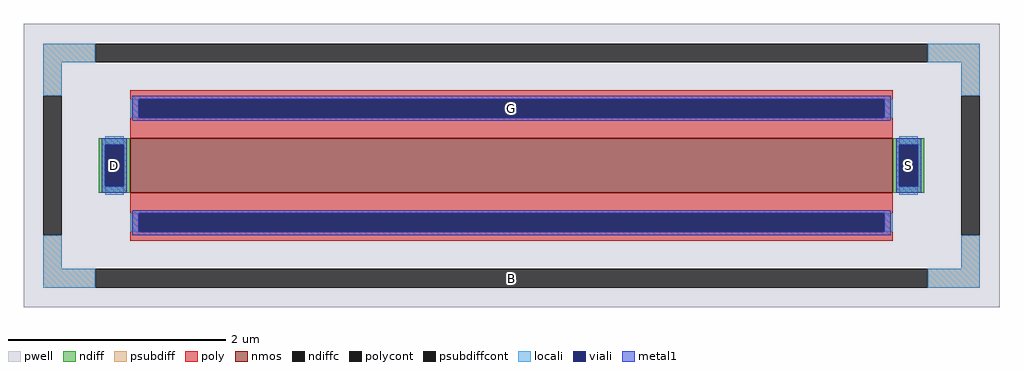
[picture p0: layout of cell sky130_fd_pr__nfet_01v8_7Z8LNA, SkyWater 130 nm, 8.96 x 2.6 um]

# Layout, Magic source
magic
tech sky130A
magscale 1 2
<< pwell >>
rect -896 -260 896 260
<< nmos >>
rect -700 -50 700 50
<< ndiff >>
rect -758 38 -700 50
rect -758 -38 -746 38
rect -712 -38 -700 38
rect -758 -50 -700 -38
rect 700 38 758 50
rect 700 -38 712 38
rect 746 -38 758 38
rect 700 -50 758 -38
<< ndiffc >>
rect -746 -38 -712 38
rect 712 -38 746 38
<< psubdiff >>
rect -860 190 -764 224
rect 764 190 860 224
rect -860 128 -826 190
rect 826 128 860 190
rect -860 -190 -826 -128
rect 826 -190 860 -128
rect -860 -224 -764 -190
rect 764 -224 860 -190
<< psubdiffcont >>
rect -764 190 764 224
rect -860 -128 -826 128
rect 826 -128 860 128
rect -764 -224 764 -190
<< poly >>
rect -700 122 700 138
rect -700 88 -684 122
rect 684 88 700 122
rect -700 50 700 88
rect -700 -88 700 -50
rect -700 -122 -684 -88
rect 684 -122 700 -88
rect -700 -138 700 -122
<< polycont >>
rect -684 88 684 122
rect -684 -122 684 -88
<< locali >>
rect -860 190 -764 224
rect 764 190 860 224
rect -860 128 -826 190
rect 826 128 860 190
rect -700 88 -684 122
rect 684 88 700 122
rect -746 38 -712 54
rect -746 -54 -712 -38
rect 712 38 746 54
rect 712 -54 746 -38
rect -700 -122 -684 -88
rect 684 -122 700 -88
rect -860 -190 -826 -128
rect 826 -190 860 -128
rect -860 -224 -764 -190
rect 764 -224 860 -190
<< viali >>
rect -684 88 684 122
rect -746 -38 -712 38
rect 712 -38 746 38
rect -684 -122 684 -88
<< metal1 >>
rect -696 122 696 128
rect -696 88 -684 122
rect 684 88 696 122
rect -696 82 696 88
rect -752 38 -706 50
rect -752 -38 -746 38
rect -712 -38 -706 38
rect -752 -50 -706 -38
rect 706 38 752 50
rect 706 -38 712 38
rect 746 -38 752 38
rect 706 -50 752 -38
rect -696 -88 696 -82
rect -696 -122 -684 -88
rect 684 -122 696 -88
rect -696 -128 696 -122
<< labels >>
rlabel psubdiffcont 0 -207 0 -207 0 B
port 5 nsew
rlabel ndiffc -729 0 -729 0 0 D
port 6 nsew
rlabel ndiffc 729 0 729 0 0 S
port 7 nsew
rlabel polycont 0 105 0 105 0 G
port 8 nsew
<< properties >>
string FIXED_BBOX -843 -207 843 207
string gencell sky130_fd_pr__nfet_01v8
string library sky130
string parameters w 0.5 l 7.0 m 1 nf 1 diffcov 100 polycov 100 guard 1 glc 1 grc 1 gtc 1 gbc 1 tbcov 100 rlcov 100 topc 1 botc 1 poverlap 0 doverlap 1 lmin 0.15 wmin 0.42 class mosfet compatible {sky130_fd_pr__nfet_01v8 sky130_fd_pr__nfet_01v8_lvt  sky130_fd_bs_flash__special_sonosfet_star  sky130_fd_pr__nfet_g5v0d10v5 sky130_fd_pr__nfet_05v0_nvt  sky130_fd_pr__nfet_03v3_nvt} full_metal 1 conn_gates 0 viasrc 100 viadrn 100 viagate 100 viagb 0 viagr 0 viagl 0 viagt 0 doports 1 ad 0.145 as 0.145 pd 1.58 ps 1.58 nrd 0.58 nrs 0.58 sa 0 sb 0 sd 0 mult 1
<< end >>
